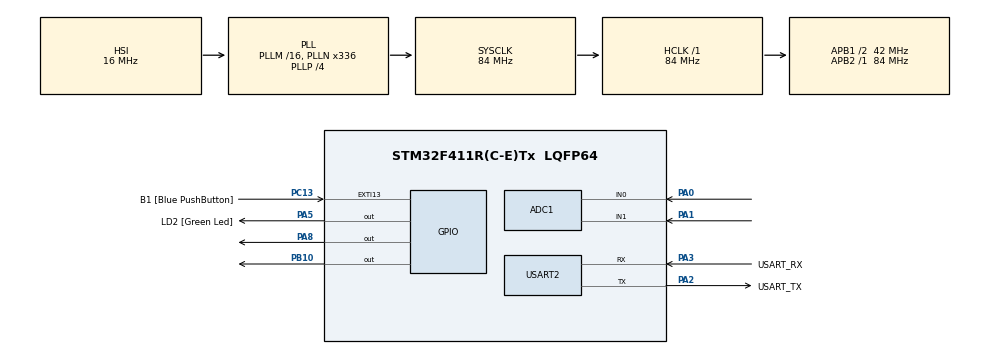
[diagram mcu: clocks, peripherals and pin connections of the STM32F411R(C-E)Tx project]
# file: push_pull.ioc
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ADC1.Channel-0\#ChannelRegularConversion=ADC_CHANNEL_0
ADC1.Channel-1\#ChannelRegularConversion=ADC_CHANNEL_1
ADC1.ContinuousConvMode=ENABLE
ADC1.NbrOfConversion=2
ADC1.NbrOfConversionFlag=1
ADC1.Rank-0\#ChannelRegularConversion=1
ADC1.Rank-1\#ChannelRegularConversion=2
ADC1.SamplingTime-0\#ChannelRegularConversion=ADC_SAMPLETIME_28CYCLES
ADC1.SamplingTime-1\#ChannelRegularConversion=ADC_SAMPLETIME_56CYCLES
ADC1.ScanConvMode=ENABLE
ADC1.master=1
Mcu.Family=STM32F4
Mcu.Name=STM32F411R(C-E)Tx
Mcu.Package=LQFP64
NVIC.PriorityGroup=NVIC_PRIORITYGROUP_0
PA0-WKUP.Signal=ADCx_IN0
PA1.Signal=ADCx_IN1
PA13.GPIO_Label=TMS
PA13.Mode=Serial_Wire
PA13.Signal=SYS_JTMS-SWDIO
PA14.GPIO_Label=TCK
PA14.Mode=Serial_Wire
PA14.Signal=SYS_JTCK-SWCLK
PA2.GPIO_Label=USART_TX
PA2.Mode=Asynchronous
PA2.Signal=USART2_TX
PA3.GPIO_Label=USART_RX
PA3.Mode=Asynchronous
PA3.Signal=USART2_RX
PA5.GPIO_Label=LD2 [Green Led]
PA5.Signal=GPIO_Output
PA8.Signal=GPIO_Output
PB10.Signal=GPIO_Output
PB3.GPIO_Label=SWO
PB3.Signal=SYS_JTDO-SWO
PC13-ANTI_TAMP.GPIO_Label=B1 [Blue PushButton]
PC13-ANTI_TAMP.GPIO_ModeDefaultEXTI=GPIO_MODE_IT_FALLING
PC13-ANTI_TAMP.Signal=GPXTI13
PC14-OSC32_IN.Mode=LSE-External-Oscillator
PC14-OSC32_IN.Signal=RCC_OSC32_IN
PC15-OSC32_OUT.Mode=LSE-External-Oscillator
PC15-OSC32_OUT.Signal=RCC_OSC32_OUT
PH0\ -\ OSC_IN.Mode=HSE-External-Clock-Source
PH0\ -\ OSC_IN.Signal=RCC_OSC_IN
PH1\ -\ OSC_OUT.Mode=HSE-External-Clock-Source
PH1\ -\ OSC_OUT.Signal=RCC_OSC_OUT
ProjectManager.HeapSize=0x200
ProjectManager.StackSize=0x400
ProjectManager.TargetToolchain=STM32CubeIDE
RCC.48MHZClocksFreq_Value=84000000
RCC.AHBFreq_Value=84000000
RCC.APB1CLKDivider=RCC_HCLK_DIV2
RCC.APB1Freq_Value=42000000
RCC.APB1TimFreq_Value=84000000
RCC.APB2Freq_Value=84000000
RCC.APB2TimFreq_Value=84000000
RCC.CortexFreq_Value=84000000
RCC.FLatency-AdvancedSettings=FLASH_LATENCY_2
RCC.HCLKFreq_Value=84000000
RCC.HSE_VALUE=8000000
RCC.HSI_VALUE=16000000
RCC.PLLN=336
RCC.PLLP=RCC_PLLP_DIV4
RCC.SYSCLKFreq_VALUE=84000000
RCC.SYSCLKSource=RCC_SYSCLKSOURCE_PLLCLK
RCC.VCOOutputFreq_Value=336000000
SH.ADCx_IN0.0=ADC1_IN0,IN0
SH.ADCx_IN1.0=ADC1_IN1,IN1
USART2.VirtualMode=VM_ASYNC
board=NUCLEO-F411RE

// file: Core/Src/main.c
/* USER CODE BEGIN Header */
/**
  ******************************************************************************
  * @file           : main.c
  * @brief          : Main program body
  ******************************************************************************
  * @attention
  *
  * Copyright (c) 2024 STMicroelectronics.
  * All rights reserved.
  *
  * This software is licensed under terms that can be found in the LICENSE file
  * in the root directory of this software component.
  * If no LICENSE file comes with this software, it is provided AS-IS.
  *
  ******************************************************************************
  */
/* USER CODE END Header */
#include "main.h"

/* USER CODE BEGIN Includes */
#include <stdio.h>
#include <stdlib.h>
#include "push_pull.h"
/* USER CODE END Includes */

ADC_HandleTypeDef hadc1;

UART_HandleTypeDef huart2;

/* USER CODE BEGIN PV */

uint32_t count = 0;

uint32_t pot_one, pot_two;
uint32_t new_pot_one, new_pot_two;

/* USER CODE END PV */

void SystemClock_Config(void);
static void MX_GPIO_Init(void);
static void MX_USART2_UART_Init(void);
static void MX_ADC1_Init(void);

/* USER CODE BEGIN 0 */
void ADC_Select_CH0(void)
{
	ADC_ChannelConfTypeDef sConfig = {0};

	sConfig.Channel = ADC_CHANNEL_0;
	sConfig.Rank = 1;
	sConfig.SamplingTime = ADC_SAMPLETIME_28CYCLES;
	if (HAL_ADC_ConfigChannel(&hadc1, &sConfig) != HAL_OK)
	{
	  Error_Handler();
	}
}

void ADC_Select_CH1(void)
{
	ADC_ChannelConfTypeDef sConfig = {0};

	sConfig.Channel = ADC_CHANNEL_1;
	sConfig.Rank = 1;
	sConfig.SamplingTime = ADC_SAMPLETIME_56CYCLES;
	if (HAL_ADC_ConfigChannel(&hadc1, &sConfig) != HAL_OK)
	{
	  Error_Handler();
	}
}

/* USER CODE END 0 */

int main(void)
{

  /* MCU Configuration--------------------------------------------------------*/

  /* Reset of all peripherals, Initializes the Flash interface and the Systick. */
  HAL_Init();

  /* USER CODE BEGIN Init */

  push_pull_init(GPIOA, GPIO_PIN_8, GPIOB, GPIO_PIN_10);

  /* USER CODE END Init */

  /* Configure the system clock */
  SystemClock_Config();

  /* Initialize all configured peripherals */
  MX_GPIO_Init();
  MX_USART2_UART_Init();
  MX_ADC1_Init();

  /* Infinite loop */
  while (1)
  {

    /* USER CODE BEGIN 3 */
	  ADC_Select_CH0();
	  HAL_ADC_Start(&hadc1);
	  HAL_ADC_PollForConversion(&hadc1, 1000);
	  pot_one = HAL_ADC_GetValue(&hadc1);
	  HAL_ADC_Stop(&hadc1);

	  ADC_Select_CH1();
	  HAL_ADC_Start(&hadc1);
	  HAL_ADC_PollForConversion(&hadc1, 1000);
	  pot_two = HAL_ADC_GetValue(&hadc1);
	  HAL_ADC_Stop(&hadc1);

	  new_pot_one = remap_val(pot_one, 0, 4100, 101, 1099);
	  new_pot_two = remap_val(pot_two, 0, 4100, 101, 1099);

	  linear_set(new_pot_one, GPIOA, GPIO_PIN_8, GPIOB, GPIO_PIN_10, new_pot_two);

	  printf("Pots: %ld  %ld\r\n", new_pot_one, new_pot_two);
	  fflush(stdout);
	  count++;
	  HAL_Delay(500);
  }
  /* USER CODE END 3 */
}

void SystemClock_Config(void)
{
  RCC_OscInitTypeDef RCC_OscInitStruct = {0};
  RCC_ClkInitTypeDef RCC_ClkInitStruct = {0};

  /** Configure the main internal regulator output voltage
  */
  __HAL_RCC_PWR_CLK_ENABLE();
  __HAL_PWR_VOLTAGESCALING_CONFIG(PWR_REGULATOR_VOLTAGE_SCALE1);

  /** Initializes the RCC Oscillators according to the specified parameters
  * in the RCC_OscInitTypeDef structure.
  */
  RCC_OscInitStruct.OscillatorType = RCC_OSCILLATORTYPE_HSI;
  RCC_OscInitStruct.HSIState = RCC_HSI_ON;
  RCC_OscInitStruct.HSICalibrationValue = RCC_HSICALIBRATION_DEFAULT;
  RCC_OscInitStruct.PLL.PLLState = RCC_PLL_ON;
  RCC_OscInitStruct.PLL.PLLSource = RCC_PLLSOURCE_HSI;
  RCC_OscInitStruct.PLL.PLLM = 16;
  RCC_OscInitStruct.PLL.PLLN = 336;
  RCC_OscInitStruct.PLL.PLLP = RCC_PLLP_DIV4;
  RCC_OscInitStruct.PLL.PLLQ = 4;
  if (HAL_RCC_OscConfig(&RCC_OscInitStruct) != HAL_OK)
  {
    Error_Handler();
  }

  /** Initializes the CPU, AHB and APB buses clocks
  */
  RCC_ClkInitStruct.ClockType = RCC_CLOCKTYPE_HCLK|RCC_CLOCKTYPE_SYSCLK
                              |RCC_CLOCKTYPE_PCLK1|RCC_CLOCKTYPE_PCLK2;
  RCC_ClkInitStruct.SYSCLKSource = RCC_SYSCLKSOURCE_PLLCLK;
  RCC_ClkInitStruct.AHBCLKDivider = RCC_SYSCLK_DIV1;
  RCC_ClkInitStruct.APB1CLKDivider = RCC_HCLK_DIV2;
  RCC_ClkInitStruct.APB2CLKDivider = RCC_HCLK_DIV1;

  if (HAL_RCC_ClockConfig(&RCC_ClkInitStruct, FLASH_LATENCY_2) != HAL_OK)
  {
    Error_Handler();
  }
}

static void MX_ADC1_Init(void)
{

  //ADC_ChannelConfTypeDef sConfig = {0};

  /** Configure the global features of the ADC (Clock, Resolution, Data Alignment and number of conversion)
  */
  hadc1.Instance = ADC1;
  hadc1.Init.ClockPrescaler = ADC_CLOCK_SYNC_PCLK_DIV4;
  hadc1.Init.Resolution = ADC_RESOLUTION_12B;
  hadc1.Init.ScanConvMode = ENABLE;
  hadc1.Init.ContinuousConvMode = ENABLE;
  hadc1.Init.DiscontinuousConvMode = DISABLE;
  hadc1.Init.ExternalTrigConvEdge = ADC_EXTERNALTRIGCONVEDGE_NONE;
  hadc1.Init.ExternalTrigConv = ADC_SOFTWARE_START;
  hadc1.Init.DataAlign = ADC_DATAALIGN_RIGHT;
  hadc1.Init.NbrOfConversion = 1;
  hadc1.Init.DMAContinuousRequests = DISABLE;
  hadc1.Init.EOCSelection = ADC_EOC_SINGLE_CONV;
  if (HAL_ADC_Init(&hadc1) != HAL_OK)
  {
    Error_Handler();
  }

  /** Configure for the selected ADC regular channel its corresponding rank in the sequencer and its sample time.
  */
//  sConfig.Channel = ADC_CHANNEL_0;
//  sConfig.Rank = 1;
//  sConfig.SamplingTime = ADC_SAMPLETIME_28CYCLES;
//  if (HAL_ADC_ConfigChannel(&hadc1, &sConfig) != HAL_OK)
//  {
//    Error_Handler();
//  }
//
//  /** Configure for the selected ADC regular channel its corresponding rank in the sequencer and its sample time.
//  */
//  sConfig.Channel = ADC_CHANNEL_1;
//  sConfig.Rank = 2;
//  sConfig.SamplingTime = ADC_SAMPLETIME_56CYCLES;
//  if (HAL_ADC_ConfigChannel(&hadc1, &sConfig) != HAL_OK)
//  {
//    Error_Handler();
//  }

}

static void MX_USART2_UART_Init(void)
{

  huart2.Instance = USART2;
  huart2.Init.BaudRate = 115200;
  huart2.Init.WordLength = UART_WORDLENGTH_8B;
  huart2.Init.StopBits = UART_STOPBITS_1;
  huart2.Init.Parity = UART_PARITY_NONE;
  huart2.Init.Mode = UART_MODE_TX_RX;
  huart2.Init.HwFlowCtl = UART_HWCONTROL_NONE;
  huart2.Init.OverSampling = UART_OVERSAMPLING_16;
  if (HAL_UART_Init(&huart2) != HAL_OK)
  {
    Error_Handler();
  }

}

static void MX_GPIO_Init(void)
{
  GPIO_InitTypeDef GPIO_InitStruct = {0};

  /* GPIO Ports Clock Enable */
  __HAL_RCC_GPIOC_CLK_ENABLE();
  __HAL_RCC_GPIOH_CLK_ENABLE();
  __HAL_RCC_GPIOA_CLK_ENABLE();
  __HAL_RCC_GPIOB_CLK_ENABLE();

  /*Configure GPIO pin Output Level */
  HAL_GPIO_WritePin(GPIOA, LD2_Pin|GPIO_PIN_8, GPIO_PIN_RESET);

  /*Configure GPIO pin Output Level */
  HAL_GPIO_WritePin(GPIOB, GPIO_PIN_10, GPIO_PIN_RESET);

  /*Configure GPIO pin : B1_Pin */
  GPIO_InitStruct.Pin = B1_Pin;
  GPIO_InitStruct.Mode = GPIO_MODE_IT_FALLING;
  GPIO_InitStruct.Pull = GPIO_NOPULL;
  HAL_GPIO_Init(B1_GPIO_Port, &GPIO_InitStruct);

  /*Configure GPIO pins : LD2_Pin PA8 */
  GPIO_InitStruct.Pin = LD2_Pin|GPIO_PIN_8;
  GPIO_InitStruct.Mode = GPIO_MODE_OUTPUT_PP;
  GPIO_InitStruct.Pull = GPIO_NOPULL;
  GPIO_InitStruct.Speed = GPIO_SPEED_FREQ_LOW;
  HAL_GPIO_Init(GPIOA, &GPIO_InitStruct);

  /*Configure GPIO pin : PB10 */
  GPIO_InitStruct.Pin = GPIO_PIN_10;
  GPIO_InitStruct.Mode = GPIO_MODE_OUTPUT_PP;
  GPIO_InitStruct.Pull = GPIO_NOPULL;
  GPIO_InitStruct.Speed = GPIO_SPEED_FREQ_LOW;
  HAL_GPIO_Init(GPIOB, &GPIO_InitStruct);

}

/* USER CODE BEGIN 4 */
int _write(int file, char *ptr, int len)
{
  (void)file;
  int DataIdx;

  for (DataIdx = 0; DataIdx < len; DataIdx++)
  {
    ITM_SendChar(*ptr++);
  }
  return len;
}
/* USER CODE END 4 */

void Error_Handler(void)
{
  __disable_irq();
  while (1)
  {
  }
}
